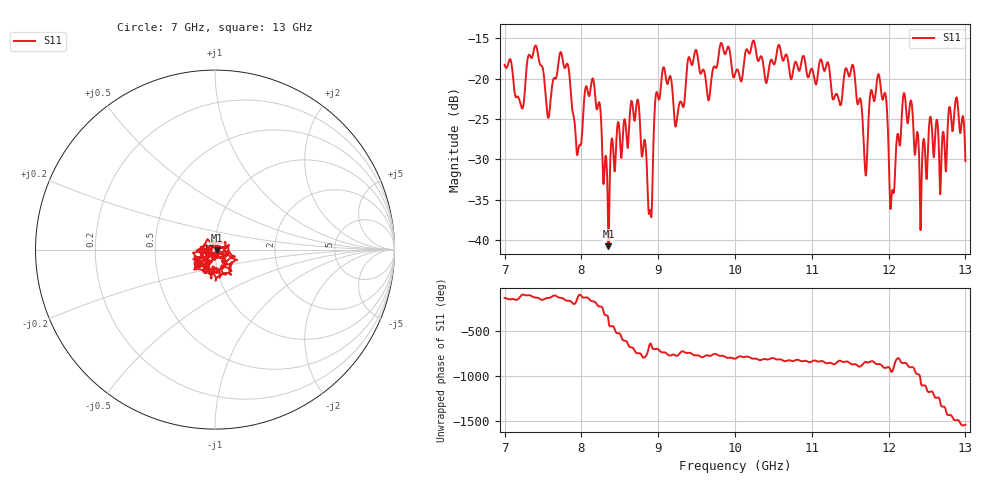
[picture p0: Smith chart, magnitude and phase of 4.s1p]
[Version] 2.0
! Rohde & Schwarz Vector Network Analyzer
! Rohde-Schwarz,ZNL20-2Port,1323001220200009,1.71.1.10-23.02.1.238
! Trace info:
! Nominal Param -> Actual Exported Buffer
! S11 -> S22
! Created: GMT+3 2024-09-24 16:37:23
# Hz S DB R 50
[Number of Ports] 1
! freq[Hz]  S11[mag dB]  S11[ang]
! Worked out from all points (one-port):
!   6001 points, 7 GHz to 13 GHz, reference 50 ohm
!   lowest |S11| = -40.8 dB at 8.352 GHz (marker M1), VSWR 1.02, Z = 50.9 - j0.343 ohm
!   |S11| at or under -10 dB: start of sweep to end of sweep
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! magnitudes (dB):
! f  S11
! 7 GHz  -18.3
! 7.226 GHz  -23.7
! 7.408 GHz  -15.9
! 7.57 GHz  -24.9
! 7.75 GHz  -17.3
! 7.959 GHz  -28.9
! 8.154 GHz  -20.0
! 8.352 GHz  -40.8
! 8.5 GHz  -27.1
! 8.734 GHz  -22.6
! 8.893 GHz  -36.4
! 8.968 GHz  -22.1
! 9.062 GHz  -18.7
! 9.25 GHz  -24.6
! 9.486 GHz  -16.5
! 9.654 GHz  -22.6
! 10 GHz  -19.5
! 10.75 GHz  -19.4
! 11.5 GHz  -19.4
! 11.7 GHz  -32.0
! 11.88 GHz  -19.7
! 11.96 GHz  -22.2
! 12.04 GHz  -34.3
! 12.19 GHz  -21.9
! 12.25 GHz  -25.5
! 12.42 GHz  -38.4
! 12.88 GHz  -22.4
! 13 GHz  -30.2
